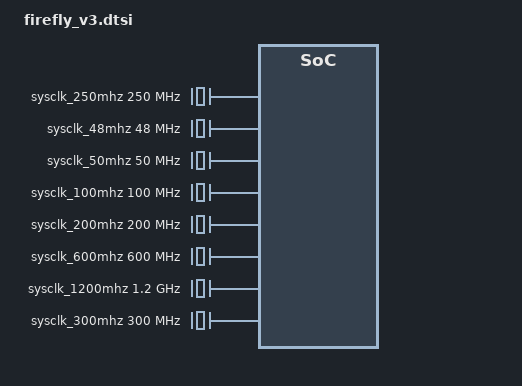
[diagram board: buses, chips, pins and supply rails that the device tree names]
#include <dt-bindings/interrupt-controller/arm-gic.h>

/ {
	compatible = "firefly,dsk_v3";
	interrupt-parent = <&gic>;
	#address-cells = <2>;
	#size-cells = <2>;

	aliases {
		ethernet0 = &macb0;
		ethernet1 = &macb1;
	};

	psci {
		compatible   = "arm,psci-1.0", "arm,psci-0.2", "arm,psci";
		method       = "smc";
		cpu_suspend  = <0xc4000001>;
		cpu_off      = <0x84000002>;
		cpu_on       = <0xc4000003>;
		sys_poweroff = <0x84000008>;
		sys_reset    = <0x84000009>;
	};

	cpus {
		#address-cells = <0x2>;
		#size-cells = <0x0>;
		cpu@0 {
			device_type = "cpu";
			compatible = "arm,armv8";
			reg = <0x0 0x0>;
			enable-method = "psci";
		};
		cpu@1 {
			device_type = "cpu";
			compatible = "arm,armv8";
			reg = <0x0 0x100>;
			enable-method = "psci";
		};
		cpu@2 {
			device_type = "cpu";
			compatible = "arm,armv8";
			reg = <0x0 0x200>;
			enable-method = "psci";
		};
		cpu@3 {
			device_type = "cpu";
			compatible = "arm,armv8";
			reg = <0x0 0x300>;
			enable-method = "psci";
		};
		cpu@4 {
			device_type = "cpu";
			compatible = "arm,armv8";
			reg = <0x0 0x10000>;
			enable-method = "psci";
		};
		cpu@5 {
			device_type = "cpu";
			compatible = "arm,armv8";
			reg = <0x0 0x10100>;
			enable-method = "psci";
		};
		cpu@6 {
			device_type = "cpu";
			compatible = "arm,armv8";
			reg = <0x0 0x10200>;
			enable-method = "psci";
		};
		cpu@7 {
			device_type = "cpu";
			compatible = "arm,armv8";
			reg = <0x0 0x10300>;
			enable-method = "psci";
		};
	};

	gic: interrupt-controller@36800000 {
		compatible = "arm,gic-v3";
		#interrupt-cells = <3>;
		#address-cells = <2>;
		#size-cells = <2>;
		ranges;
		interrupt-controller;
		reg = <0x0 0x36800000 0 0x20000>,       /* GICD */
		      <0x0 0x36860000 0 0x100000>;      /* GICR */

		interrupts = <GIC_PPI 9 IRQ_TYPE_LEVEL_HIGH>;

		its: gic-its@36840000 {
			compatible = "arm,gic-v3-its";
			msi-controller;
			reg = <0x0 0x36840000 0x0 0x20000>;
		};
	};

	timer {
		compatible = "arm,armv8-timer";
		interrupts = <GIC_PPI 13 IRQ_TYPE_LEVEL_LOW>,
			     <GIC_PPI 14 IRQ_TYPE_LEVEL_LOW>,
			     <GIC_PPI 11 IRQ_TYPE_LEVEL_LOW>,
			     <GIC_PPI 10 IRQ_TYPE_LEVEL_LOW>;
		clock-frequency = <50000000>;
	};

	pmu {
		compatible = "arm,armv8-pmuv3";
		interrupts = <GIC_PPI 7 IRQ_TYPE_LEVEL_LOW>;
	};

	clocks {
		#address-cells = <2>;
		#size-cells = <2>;
		ranges;

		sysclk_250mhz: clk250mhz {
			compatible = "fixed-clock";
			#clock-cells = <0>;
			clock-frequency = <250000000>;
		};

		sysclk_48mhz: clk48mhz {
			compatible = "fixed-clock";
			#clock-cells = <0>;
			clock-frequency = <48000000>;
		};

		sysclk_50mhz: clk50mhz {
			compatible = "fixed-clock";
			#clock-cells = <0>;
			clock-frequency = <50000000>;
		};

		sysclk_100mhz: clk100mhz {
			compatible = "fixed-clock";
			#clock-cells = <0>;
			clock-frequency = <100000000>;
		};

		sysclk_200mhz: clk200mhz {
			compatible = "fixed-clock";
			#clock-cells = <0>;
			clock-frequency = <200000000>;
		};

		sysclk_600mhz: clk600mhz {
			compatible = "fixed-clock";
			#clock-cells = <0>;
			clock-frequency = <600000000>;
		};

		sysclk_1200mhz: clk1200mhz {
			compatible = "fixed-clock";
			#clock-cells = <0>;
			clock-frequency = <1200000000>;
		};

		sysclk_300mhz: clk300mhz {
			compatible = "fixed-clock";
			#clock-cells = <0>;
			clock-frequency = <300000000>;
		};
	};

	smmu: iommu@36000000 {
		compatible = "arm,smmu-v3";
		reg = <0x0 0x36000000 0x0 0x800000>;
		interrupts = <GIC_SPI 47 IRQ_TYPE_EDGE_RISING>,
			     <GIC_SPI 46 IRQ_TYPE_EDGE_RISING>,
			     <GIC_SPI 44 IRQ_TYPE_EDGE_RISING>,
			     <GIC_SPI 49 IRQ_TYPE_EDGE_RISING>;
		interrupt-names = "eventq", "priq", "cmdq-sync", "gerror";
		dma-coherent;
		#iommu-cells = <1>;
	};

	soc {
		compatible = "simple-bus";
		#address-cells = <2>;
		#size-cells = <2>;
		dma-coherent;
		ranges;

		uart0: uart@28008000 {
			compatible = "arm,pl011", "arm,primecell";
			reg = <0x0 0x28008000 0x0 0x1000>;
			baud = <115200>;
			reg-shift = <2>;
			reg-io-width = <4>;
			interrupts = <GIC_SPI 71 IRQ_TYPE_LEVEL_HIGH>;
			clocks = <&sysclk_100mhz &sysclk_100mhz>;
			clock-names = "uartclk", "apb_pclk";
			status = "disabled";
		};

		uart1: uart@28009000 {
			compatible = "arm,pl011", "arm,primecell";
			reg = <0x0 0x28009000 0x0 0x1000>;
			baud = <115200>;
			reg-shift = <2>;
			reg-io-width = <4>;
			interrupts = <GIC_SPI 72 IRQ_TYPE_LEVEL_HIGH>;
			clocks = <&sysclk_100mhz &sysclk_100mhz>;
			clock-names = "uartclk", "apb_pclk";
			status = "disabled";
		};

		uart2: uart@2800a000 {
			compatible = "arm,pl011", "arm,primecell";
			reg = <0x0 0x2800a000 0x0 0x1000>;
			baud = <115200>;
			reg-shift = <2>;
			reg-io-width = <4>;
			interrupts = <GIC_SPI 73 IRQ_TYPE_LEVEL_HIGH>;
			clocks = <&sysclk_100mhz &sysclk_100mhz>;
			clock-names = "uartclk", "apb_pclk";
			status = "disabled";
		};

		uart3: uart@2800b000 {
			compatible = "arm,pl011", "arm,primecell";
			reg = <0x0 0x2800b000 0x0 0x1000>;
			baud = <115200>;
			reg-shift = <2>;
			reg-io-width = <4>;
			interrupts = <GIC_SPI 74 IRQ_TYPE_LEVEL_HIGH>;
			clocks = <&sysclk_100mhz &sysclk_100mhz>;
			clock-names = "uartclk", "apb_pclk";
			status = "disabled";
		};

		watchdog0: watchdog@28014000 {
			compatible = "arm,sbsa-gwdt";
			reg = <0x0 0x28015000 0x0 0x1000>,
			     <0x0 0x28014000 0x0 0x1000>;
			interrupts = <GIC_SPI 80 IRQ_TYPE_LEVEL_HIGH>;
			timeout-sec = <30>;
		};

		watchdog1: watchdog@28016000 {
			compatible = "arm,sbsa-gwdt";
			reg = <0x0 0x28017000 0x0 0x1000>,
			     <0x0 0x28016000 0x0 0x1000>;
			interrupts = <GIC_SPI 81 IRQ_TYPE_LEVEL_HIGH>;
			timeout-sec = <30>;
		};

		macb0: eth0@36ce0000 {
			compatible = "firefly,xmac_v2";
			reg = <0 0x36ce0000 0x0 0x2000>;
			interrupts = <GIC_SPI 32 IRQ_TYPE_LEVEL_HIGH>,
				     <GIC_SPI 33 IRQ_TYPE_LEVEL_HIGH>,
				     <GIC_SPI 34 IRQ_TYPE_LEVEL_HIGH>,
				     <GIC_SPI 35 IRQ_TYPE_LEVEL_HIGH>;
			clock-names = "pclk", "hclk", "tx_clk", "rx_clk","tsu_clk";
			clocks = <&sysclk_250mhz>, <&sysclk_250mhz>,<&sysclk_250mhz>,
				 <&sysclk_250mhz>,<&sysclk_300mhz>;
			magic-packet;
			dma-coherent;
			queue-number = <0x01>;
			status = "disabled";
		};

		macb1: eth1@36ce2000 {
			compatible = "firefly,xmac_v2";
			reg = <0 0x36ce2000 0x0 0x2000>;
			interrupts = <GIC_SPI 36 IRQ_TYPE_LEVEL_HIGH>,
				     <GIC_SPI 37 IRQ_TYPE_LEVEL_HIGH>,
				     <GIC_SPI 38 IRQ_TYPE_LEVEL_HIGH>,
				     <GIC_SPI 39 IRQ_TYPE_LEVEL_HIGH>;
			clock-names = "pclk", "hclk", "tx_clk", "rx_clk","tsu_clk";
			clocks = <&sysclk_250mhz>, <&sysclk_250mhz>,<&sysclk_250mhz>,
				 <&sysclk_250mhz>,<&sysclk_300mhz>;
			magic-packet;
			dma-coherent;
			queue-number = <0x01>;
			status = "disabled";
		};

		sata0: sata@36ce5000 {
			compatible = "generic-ahci";
			reg = <0x0 0x36ce5000 0x0 0x1000>;
			interrupts = <GIC_SPI 31 IRQ_TYPE_LEVEL_HIGH>;
			status = "disabled";
		};

		pcie: pcie@40000000 {
			compatible = "pci-host-ecam-generic";
			device_type = "pci";
			#address-cells = <3>;
			#size-cells = <2>;
			#interrupt-cells = <1>;
			reg = <0x0 0x40000000 0x0 0x10000000>;
			msi-parent = <&its>;
			bus-range = <0x0 0xff>;
			interrupt-map-mask = <0x0 0x0 0x0 0x7>;
			interrupt-map = <0x0 0x0 0x0 0x1 &gic
				     0x0 0x0 GIC_SPI 4 IRQ_TYPE_LEVEL_HIGH>,
				     <0x0 0x0 0x0 0x2 &gic
				     0x0 0x0 GIC_SPI 5 IRQ_TYPE_LEVEL_HIGH>,
				     <0x0 0x0 0x0 0x3 &gic
				     0x0 0x0 GIC_SPI 6 IRQ_TYPE_LEVEL_HIGH>,
				     <0x0 0x0 0x0 0x4 &gic
				     0x0 0x0 GIC_SPI 7 IRQ_TYPE_LEVEL_HIGH>;
			ranges = <0x1000000 0x00 0x00 0x0  0x50000000  0x0  0xf00000>,
				     <0x2000000 0x00 0x58000000 0x0  0x58000000  0x0  0x28000000>,
				     <0x3000000 0x10 0x00000000 0x10 0x00000000  0x10 0x00000000>;
			dma-ranges = <0x43000000 0x00 0x00 0x00 0x00 0x1000 0x00>;
			iommu-map = <0x0 &smmu 0x0 0x10000>;
			io-upper = <0x50005000>;
			dma-coherent;
			status = "disabled";
		};
	};
};
